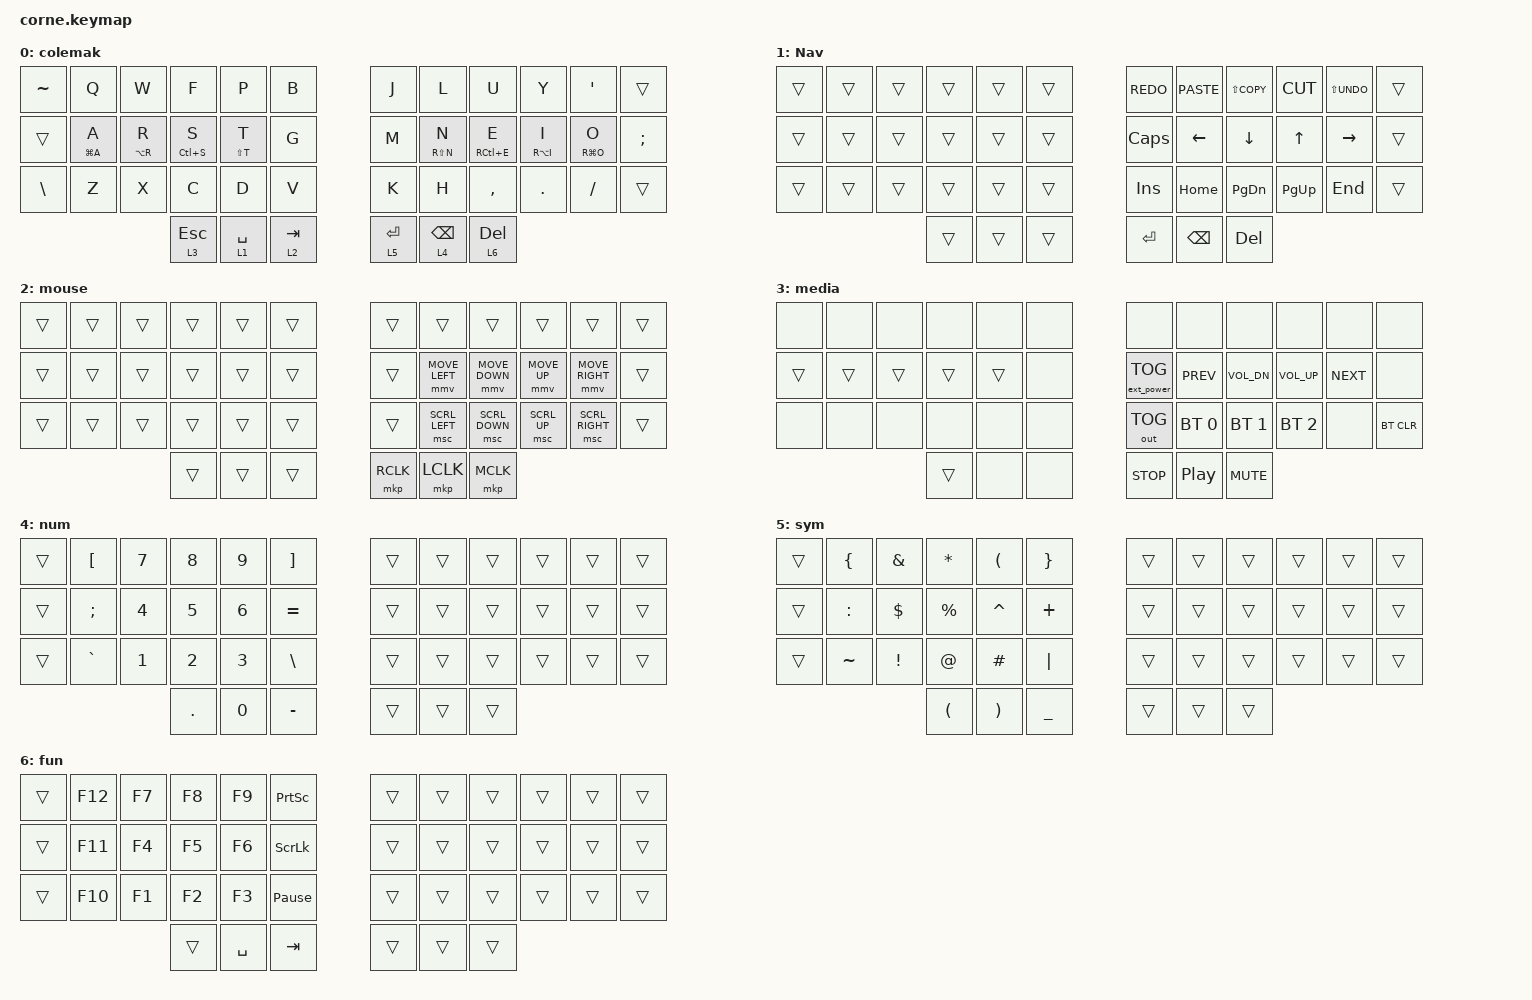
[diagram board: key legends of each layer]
#include "keys_us_international.h"
#include <behaviors.dtsi>
#include <dt-bindings/zmk/bt.h>
#include <dt-bindings/zmk/ext_power.h>
#include <dt-bindings/zmk/keys.h>
#include <dt-bindings/zmk/outputs.h>
#include <dt-bindings/zmk/pointing.h>

/ {
    combos {
        compatible = "zmk,combos";

        combo_aring {
            layers = <0>;
            timeout-ms = <50>;
            key-positions = <22 13>;
            bindings = <&kp EN_A_RING>;
        };

        combo_oe {
            layers = <0>;
            timeout-ms = <50>;
            key-positions = <21 23>;
            bindings = <&kp EN_O_UMLAUT>;
        };

        combo_ae {
            layers = <0>;
            timeout-ms = <50>;
            key-positions = <13 20>;
            bindings = <&kp EN_A_UMLAUT>;
        };
    };

    keymap {
        compatible = "zmk,keymap";

        colemak {
            bindings = <
&kp TILDE      &kp Q        &kp W        &kp F        &kp P        &kp B        &kp J        &kp L            &kp U        &kp Y        &kp SQT      &trans
&trans         &mt LG(A) A  &mt LA(R) R  &mt LC(S) S  &mt LS(T) T  &kp G        &kp M        &mt RS(N) N      &mt RC(E) E  &mt RA(I) I  &mt RG(O) O  &kp SEMI
&kp BACKSLASH  &kp Z        &kp X        &kp C        &kp D        &kp V        &kp K        &kp H            &kp COMMA    &kp DOT      &kp FSLH     &trans
                                         &lt 3 ESC    &lt 1 SPACE  &lt 2 TAB    &lt 5 ENTER  &lt 4 BACKSPACE  &lt 6 DEL
            >;
        };

        Nav {
            bindings = <
&trans  &trans  &trans  &trans  &trans  &trans    &kp K_REDO  &kp K_PASTE    &kp LS(K_COPY)  &kp K_CUT  &kp LS(K_UNDO)  &trans
&trans  &trans  &trans  &trans  &trans  &trans    &kp CAPS    &kp LEFT       &kp DOWN        &kp UP     &kp RIGHT       &trans
&trans  &trans  &trans  &trans  &trans  &trans    &kp INSERT  &kp HOME       &kp PG_DN       &kp PG_UP  &kp END         &trans
                        &trans  &trans  &trans    &kp ENTER   &kp BACKSPACE  &kp DELETE
            >;
        };

        mouse {
            bindings = <
&trans  &trans  &trans  &trans  &trans  &trans    &trans     &trans          &trans          &trans        &trans           &trans
&trans  &trans  &trans  &trans  &trans  &trans    &trans     &mmv MOVE_LEFT  &mmv MOVE_DOWN  &mmv MOVE_UP  &mmv MOVE_RIGHT  &trans
&trans  &trans  &trans  &trans  &trans  &trans    &trans     &msc SCRL_LEFT  &msc SCRL_DOWN  &msc SCRL_UP  &msc SCRL_RIGHT  &trans
                        &trans  &trans  &trans    &mkp RCLK  &mkp LCLK       &mkp MCLK
            >;
        };

        media {
            bindings = <
&none   &none   &none   &none   &none   &none    &none              &none             &none         &none            &none       &none
&trans  &trans  &trans  &trans  &trans  &none    &ext_power EP_TOG  &kp K_PREV        &kp C_VOL_DN  &kp C_VOLUME_UP  &kp C_NEXT  &none
&none   &none   &none   &none   &none   &none    &out OUT_TOG       &bt BT_SEL 0      &bt BT_SEL 1  &bt BT_SEL 2     &none       &bt BT_CLR
                        &trans  &none   &none    &kp K_STOP         &kp C_PLAY_PAUSE  &kp K_MUTE
            >;
        };

        num {
            bindings = <
&trans  &kp LBKT   &kp N7  &kp N8   &kp N9  &kp RBKT     &trans  &trans  &trans  &trans  &trans  &trans
&trans  &kp SEMI   &kp N4  &kp N5   &kp N6  &kp EQUAL    &trans  &trans  &trans  &trans  &trans  &trans
&trans  &kp GRAVE  &kp N1  &kp N2   &kp N3  &kp BSLH     &trans  &trans  &trans  &trans  &trans  &trans
                           &kp DOT  &kp N0  &kp MINUS    &trans  &trans  &trans
            >;
        };

        sym {
            bindings = <
&trans  &kp LEFT_BRACE  &kp AMPERSAND    &kp ASTERISK          &kp LEFT_PARENTHESIS   &kp RIGHT_BRACE    &trans  &trans  &trans  &trans  &trans  &trans
&trans  &kp COLON       &kp DOLLAR       &kp PERCENT           &kp CARET              &kp PLUS           &trans  &trans  &trans  &trans  &trans  &trans
&trans  &kp TILDE       &kp EXCLAMATION  &kp AT_SIGN           &kp HASH               &kp PIPE           &trans  &trans  &trans  &trans  &trans  &trans
                                         &kp LEFT_PARENTHESIS  &kp RIGHT_PARENTHESIS  &kp UNDERSCORE     &trans  &trans  &trans
            >;
        };

        fun {
            bindings = <
&trans  &kp F12  &kp F7  &kp F8  &kp F9     &kp PRINTSCREEN    &trans  &trans  &trans  &trans  &trans  &trans
&trans  &kp F11  &kp F4  &kp F5  &kp F6     &kp SCROLLLOCK     &trans  &trans  &trans  &trans  &trans  &trans
&trans  &kp F10  &kp F1  &kp F2  &kp F3     &kp PAUSE_BREAK    &trans  &trans  &trans  &trans  &trans  &trans
                         &trans  &kp SPACE  &kp TAB            &trans  &trans  &trans
            >;
        };
    };
};
